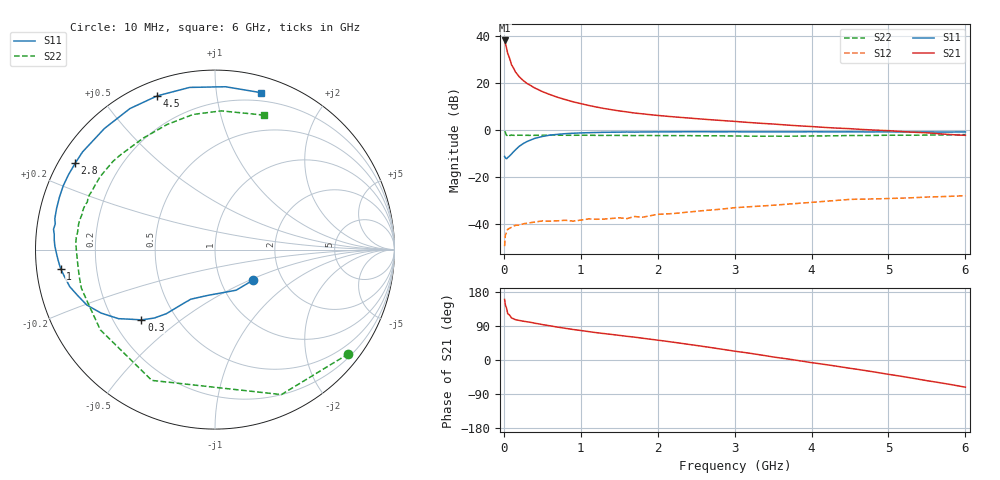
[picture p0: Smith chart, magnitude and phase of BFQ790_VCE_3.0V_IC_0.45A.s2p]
! (c) 2015  Infineon Technologies AG, Munich
! Infineon Technologies  Discrete & RF Semiconductors
! BFQ790
! VCE =  3.0 V,  IC = 0.45 A
! Common Emitter S-Parameters:  May 2015
# GHz  S  MA  R  50
!  f  S11  S21  S12  S22
! GHz  MAG  ANG  MAG  ANG  MAG  ANG  MAG  ANG
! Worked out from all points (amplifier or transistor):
!   77 points, 10 MHz to 6 GHz, reference 50 ohm
!   highest |S21| = 38.3 dB at 10 MHz (marker M1)
!   |S21| within 3 dB of that: start of sweep to 32.94 MHz
!   unconditionally stable (mu >= 1): 154.9 MHz to end of sweep
!   at 130 MHz: K = 0.89, MSG = 33.6 dB, |S12| = -41.0 dB
!   at 2.2 GHz: K = 1.41, MAG = 16.9 dB, |S12| = -35.7 dB
!   at 6 GHz: K = 1.12, MAG = 10.8 dB, |S12| = -28.1 dB
!   S11 on the Smith chart (normalised r, x): 10 MHz: 1.43, -0.52; 300 MHz: 0.32, -0.37; 1 GHz: 0.07, -0.06; 2.8 GHz: 0.05, +0.28; 4.5 GHz: 0.07, +0.69; 6 GHz: 0.13, +1.33
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0.01  0.2725 -38.5  81.8 159.8  0.0033 72.5  0.9434 -38.0
0.02  0.2551 -62.5  70.89 145.4  0.0057 51.3  0.8884 -65.4
0.05  0.2577 -98.6  43.36 122.3  0.0076 30.8  0.8093 -115.8
0.1  0.3079 -116.1  24.74 110.7  0.0084 20.0  0.7798 -145.0
0.15  0.3757 -122.7  17.47 106.4  0.0092 22.3  0.7681 -157.7
0.2  0.4483 -127.2  13.74 104.4  0.0093 24.2  0.7749 -164.0
0.25  0.51 -131.6  11.49 102.5  0.0099 20.2  0.771 -168.4
0.3  0.5667 -136.3  9.891 100.9  0.0102 15.4  0.7692 -171.7
0.4  0.661 -144.4  7.922 97.2  0.0108 17.0  0.7697 -176.5
0.5  0.7268 -150.9  6.616 93.5  0.0114 12.3  0.7724 -179.9
0.6  0.7781 -156.6  5.708 90.2  0.0113 16.2  0.7764 177.3
0.8  0.8353 -165.7  4.458 83.6  0.0118 11.0  0.7719 173.0
1  0.8669 -173.0  3.664 77.9  0.0119 13.3  0.7731 169.5
1.1  0.8765 -176.3  3.354 75.0  0.0126 16.3  0.7718 167.7
1.5  0.8997 174.6  2.558 65.0  0.0133 18.3  0.7665 162.0
2.1  0.9127 163.3  1.98 49.8  0.0161 20.3  0.7586 153.2
2.8  0.9155 148.3  1.61 29.5  0.0202 12.9  0.7514 139.0
3.1  0.9135 141.4  1.483 20.6  0.0224 10.4  0.7415 132.5
4.1  0.9147 119.0  1.156 -9.7  0.0293 -4.7  0.7471 108.6
4.5  0.915 110.6  1.067 -21.9  0.033 -12.6  0.7629 99.2
5.1  0.91 96.4  0.944 -40.9  0.0348 -25.7  0.7728 85.4
6  0.9111 73.7  0.769 -71.8  0.0395 -47.4  0.7981 69.8
